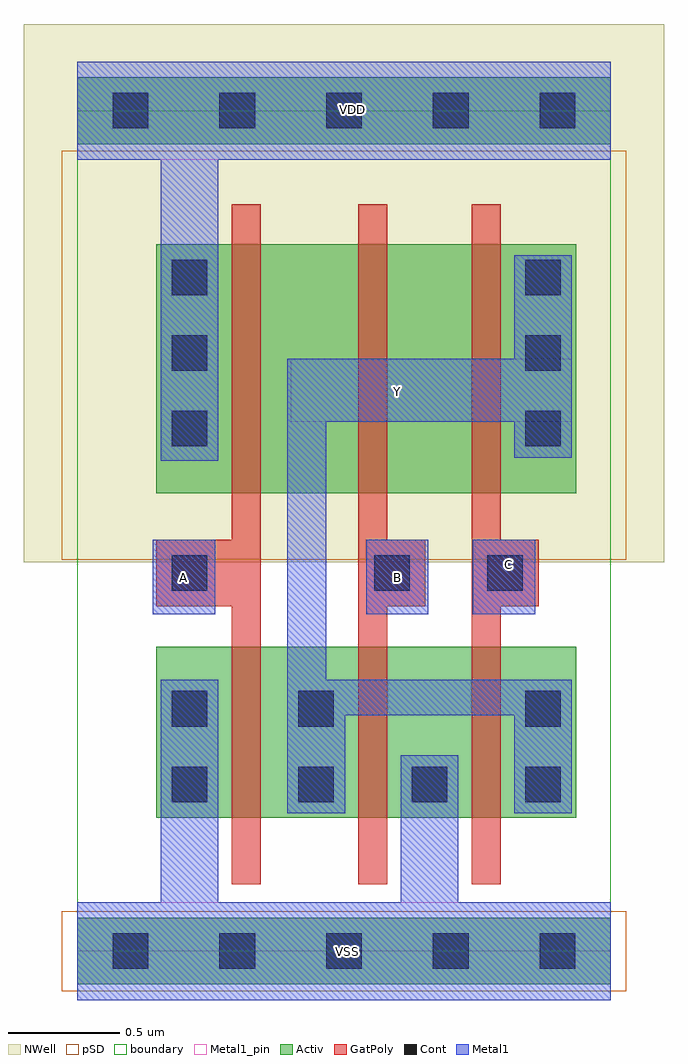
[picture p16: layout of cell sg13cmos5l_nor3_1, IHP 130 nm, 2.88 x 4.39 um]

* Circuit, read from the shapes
.subckt sg13cmos5l_nor3_1 A B C VDD VSS Y
XM1 Y A VSS VSS sg13_lv_nmos w=0.77u l=0.13u
XM2 VSS B Y VSS sg13_lv_nmos w=0.77u l=0.13u
XM3 Y C VSS VSS sg13_lv_nmos w=0.77u l=0.13u
XM4 n1 A VDD VDD sg13_lv_pmos w=1.12u l=0.13u
XM5 n2 B n1 VDD sg13_lv_pmos w=1.12u l=0.13u
XM6 Y C n2 VDD sg13_lv_pmos w=1.12u l=0.13u
.ends

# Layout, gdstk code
import gdstk
lib = gdstk.Library(unit=1e-6, precision=1e-09)
def R(c, l, rs):  # rectangles x0, y0, x1, y1
    for r in rs: c.add(gdstk.rectangle(r[:2], r[2:], *l))
def A(c, l, x, y, w, h, nx, ny, dx, dy):  # array of equal rectangles
    R(c, l, [(x+i*dx, y+j*dy, x+i*dx+w, y+j*dy+h) for i in range(nx) for j in range(ny)])
def P(c, l, *ps):  # polygons
    for p in ps: c.add(gdstk.Polygon(p, *l))
Activ = (1, 0)
GatPoly = (5, 0)
Cont = (6, 0)
Metal1 = (8, 0)
Metal1_pin = (8, 2)
pSD = (14, 0)
NWell = (31, 0)
boundary = (189, 4)

sg13cmos5l_nor3_1 = lib.new_cell('sg13cmos5l_nor3_1')
R(sg13cmos5l_nor3_1, Activ, [(0,-0.15,2.4,0.15), (0.355,0.6,2.245,1.37), (0.355,2.06,2.245,3.18), (0,3.63,2.4,3.93)])
P(sg13cmos5l_nor3_1, GatPoly, [(1.775,0.3),(1.775,3.36),(1.905,3.36),(1.905,1.85),(2.075,1.85),(2.075,1.55),(1.905,1.55),(1.905,0.3)],
  [(0.695,0.3),(0.695,1.55),(0.355,1.55),(0.355,1.85),(0.695,1.85),(0.695,3.36),(0.825,3.36),(0.825,0.3)],
  [(1.265,0.3),(1.265,3.36),(1.395,3.36),(1.395,1.85),(1.565,1.85),(1.565,1.55),(1.395,1.55),(1.395,0.3)])
A(sg13cmos5l_nor3_1, Cont, 0.995, 0.67, 0.16, 0.16, 3, 1, 0.51, 0)
A(sg13cmos5l_nor3_1, Cont, 0.425, 2.27, 0.16, 0.16, 1, 3, 0, 0.34)
A(sg13cmos5l_nor3_1, Cont, 2.015, 2.27, 0.16, 0.16, 1, 3, 0, 0.34)
R(sg13cmos5l_nor3_1, Cont, [(0.16,-0.08,0.32,0.08), (0.16,-0.08,0.32,0.08), (0.64,-0.08,0.8,0.08), (0.64,-0.08,0.8,0.08), (1.12,-0.08,1.28,0.08), (1.12,-0.08,1.28,0.08), (1.6,-0.08,1.76,0.08), (1.6,-0.08,1.76,0.08), (2.08,-0.08,2.24,0.08), (2.08,-0.08,2.24,0.08), (0.425,0.67,0.585,0.83), (0.425,1.01,0.585,1.17), (0.995,1.01,1.155,1.17), (2.015,1.01,2.175,1.17), (0.425,1.62,0.585,1.78), (1.335,1.62,1.495,1.78), (1.845,1.62,2.005,1.78), (0.16,3.7,0.32,3.86), (0.16,3.7,0.32,3.86), (0.64,3.7,0.8,3.86), (0.64,3.7,0.8,3.86), (1.12,3.7,1.28,3.86), (1.12,3.7,1.28,3.86), (1.6,3.7,1.76,3.86), (1.6,3.7,1.76,3.86), (2.08,3.7,2.24,3.86), (2.08,3.7,2.24,3.86)])
R(sg13cmos5l_nor3_1, Metal1, [(0.34,1.515,0.62,1.85), (1.3,1.515,1.58,1.85), (1.78,1.515,2.06,1.85)])
P(sg13cmos5l_nor3_1, Metal1, [(0,-0.22),(0,0.22),(0.375,0.22),(0.375,1.22),(0.635,1.22),(0.635,0.22),(1.455,0.22),(1.455,0.88),(1.715,0.88),(1.715,0.22),(2.4,0.22),(2.4,-0.22)],
  [(0.375,2.205),(0.375,3.56),(0,3.56),(0,4),(2.4,4),(2.4,3.56),(0.635,3.56),(0.635,2.205)],
  [(0.945,0.62),(0.945,2.665),(1.965,2.665),(1.965,3.13),(2.225,3.13),(2.225,2.22),(1.965,2.22),(1.965,2.38),(1.12,2.38),(1.12,1.22),(2.225,1.22),(2.225,0.62),(1.965,0.62),(1.965,1.06),(1.205,1.06),(1.205,0.62)])
R(sg13cmos5l_nor3_1, Metal1_pin, [(0,-0.22,2.4,0.22), (0.34,1.515,0.62,1.85), (1.3,1.515,1.58,1.85), (1.78,1.515,2.06,1.85), (0.96,2.38,2.225,2.665), (0,3.56,2.4,4)])
R(sg13cmos5l_nor3_1, pSD, [(-0.07,-0.18,2.47,0.18), (-0.07,1.76,2.47,3.6)])
R(sg13cmos5l_nor3_1, NWell, [(-0.24,1.75,2.64,4.17)])
R(sg13cmos5l_nor3_1, boundary, [(0,0,2.4,3.78)])
sg13cmos5l_nor3_1.add(gdstk.Label('A', (0.48,1.68), layer=8, texttype=25))
sg13cmos5l_nor3_1.add(gdstk.Label('Y', (1.44,2.515), layer=8, texttype=25))
sg13cmos5l_nor3_1.add(gdstk.Label('B', (1.44,1.68), layer=8, texttype=25))
sg13cmos5l_nor3_1.add(gdstk.Label('C', (1.94,1.74), layer=8, texttype=25))
sg13cmos5l_nor3_1.add(gdstk.Label('VDD', (1.24,3.785), layer=8, texttype=25))
sg13cmos5l_nor3_1.add(gdstk.Label('VSS', (1.215,0), layer=8, texttype=25))

lib.write_gds('sg13cmos5l_nor3_1.gds')
